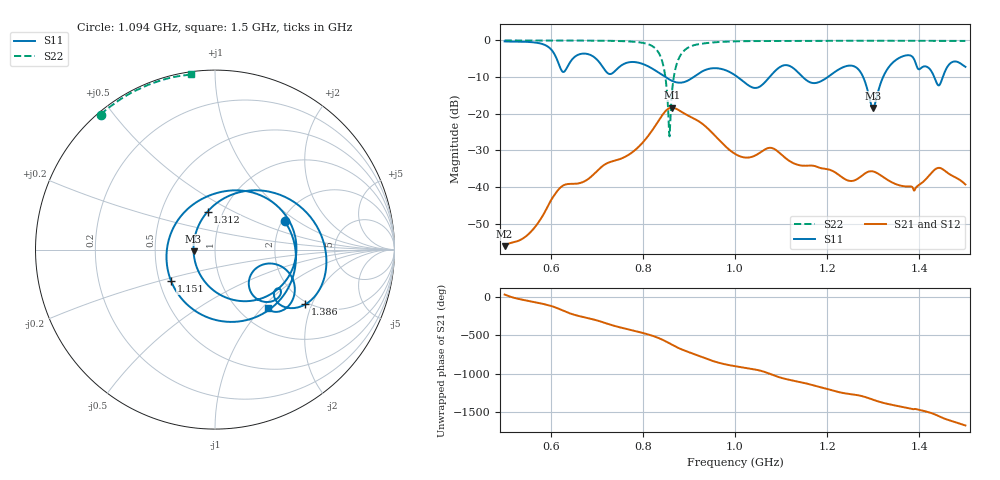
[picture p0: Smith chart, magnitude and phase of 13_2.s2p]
! TOUCHSTONE file generated by CST MICROWAVE STUDIO
! Date and time: Thu Feb 11 19:32:31 2021
! Project name: Scenario_1_Planar_Body_Tissue_Out_of_Line.cst
! Parameters = {L_HA=400; Ltissue=1000; MT=2.54; Rad_Dielectric=30; Rad_Lower=7.3; Rad_Upper=30; Wtissue=1000; a_HA=580; a_WG=246; b_HA=500; b_WG=121; c_HA=0; c_WG=187; d_feed=85; dx1=346; dy1=-138.4; h_feed=15; h_lower=18; h_upper=40; hfat=3; hgap=25; hmuscle=50; hskin=1.5}
! Header version: 2018
! Port assignment regex: !\s*Touchstone port\s*([0-9]+)\s*=\s*(CST MWS port|CST DS port)\s*([0-9]+|Zmin|Zmax)\s*\(\"(.*)\"\)(\s*mode\s*([0-9]+))?.*
! Touchstone port assignment:
! Touchstone port 1 = CST MWS port 1 ("")
! Touchstone port 2 = CST MWS port 2 ("")
# GHz S DB R 50
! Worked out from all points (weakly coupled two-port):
!   1003 points, 500 MHz to 1.5 GHz, reference 50 ohm
!   highest |S21| = -18.34 dB at 863 MHz (marker M1); lowest = -56.1 dB at 500 MHz (marker M2)
!   lowest |S11| = -18.4 dB at 1.299 GHz (marker M3), VSWR 1.27, Z = 39.3 - j0.718 ohm
!   |S11| at or under -10 dB: 849.7 MHz to 909.9 MHz (60.17 MHz wide, 6.84 % of centre); 1.006 GHz to 1.075 GHz (69.04 MHz wide, 6.64 % of centre); 1.147 GHz to 1.201 GHz (54.15 MHz wide, 4.61 % of centre) (the widest 3 of 5)
!   |S22| runs from -26.2 to 0.0 dB; largest |S21 - S12| = 4.2e-05
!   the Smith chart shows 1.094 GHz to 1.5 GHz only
!   S11 on the Smith chart (normalised r, x): 1.094 GHz: 2.06, +0.79; 1.151 GHz: 0.58, -0.22; 1.312 GHz: 0.84, +0.37; 1.386 GHz: 1.93, -1.80; 1.5 GHz: 1.34, -1.07
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0.5  -0.27 -121.6  -56.12 27.0  -56.12 27.0  -0.01 151.1
0.667  -3.64 156.5  -38.77 100.0  -38.77 100.0  -0.04 138.3
0.695  -4.62 101.3  -36.32 60.4  -36.32 60.4  -0.06 135.3
0.717  -7.97 23.8  -33.87 20.3  -33.87 20.3  -0.09 132.6
0.741  -8.17 -97.8  -32.73 -23.9  -32.73 -23.9  -0.14 129.0
0.769  -5.98 176.1  -31.21 -65.7  -31.21 -65.7  -0.27 123.3
0.834  -8.76 29.4  -21.93 -176.5  -21.93 -176.5  -3.28 83.2
0.863  -11.01 -47.9  -18.34 96.2  -18.34 96.2  -14.45 -135.0
0.909  -10.08 174.8  -21.20 -20.9  -21.20 -20.9  -1.38 162.8
0.94  -7.86 83.3  -23.91 -90.0  -23.91 -90.0  -0.70 151.5
1  -9.48 -64.1  -30.94 177.7  -30.94 177.7  -0.25 140.3
1.046  -12.95 167.9  -31.25 132.1  -31.25 132.1  -0.17 134.7
1.094  -7.56 22.3  -30.40 38.3  -30.40 38.3  -0.13 130.2
1.124  -7.33 -66.1  -33.31 -7.3  -33.31 -7.3  -0.11 127.6
1.151  -10.44 -144.6  -34.19 -41.2  -34.19 -41.2  -0.11 125.4
1.167  -11.58 168.7  -34.14 -65.4  -34.14 -65.4  -0.10 124.1
1.249  -6.86 4.1  -38.32 176.8  -38.32 176.8  -0.08 117.8
1.299  -18.43 -175.7  -35.72 104.0  -35.72 104.0  -0.09 114.1
1.312  -13.33 101.1  -36.45 78.4  -36.45 78.4  -0.09 113.1
1.334  -7.24 48.5  -38.27 44.7  -38.27 44.7  -0.08 111.5
1.386  -4.60 -31.2  -40.24 -19.7  -40.24 -19.7  -0.09 107.4
1.5  -7.21 -47.7  -39.29 129.0  -39.29 129.0  -0.13 97.9
